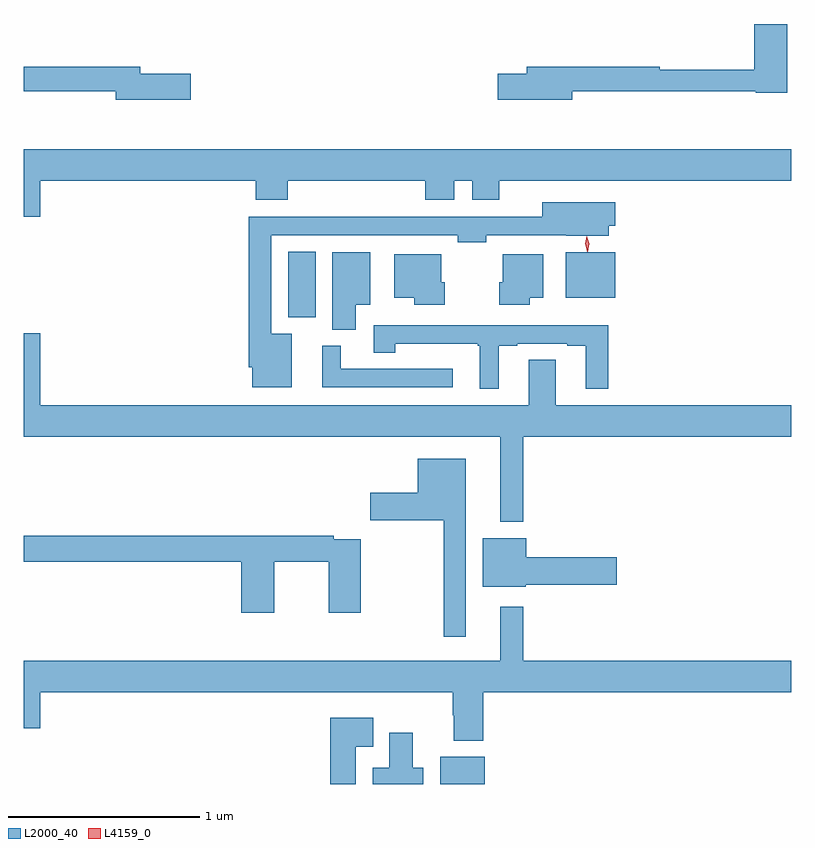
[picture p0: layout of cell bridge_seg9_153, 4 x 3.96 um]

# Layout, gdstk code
import gdstk
lib = gdstk.Library(unit=1e-6, precision=1e-09)
def R(c, l, rs):  # rectangles x0, y0, x1, y1
    for r in rs: c.add(gdstk.rectangle(r[:2], r[2:], *l))
def P(c, l, *ps):  # polygons
    for p in ps: c.add(gdstk.Polygon(p, *l))
L2000_40 = (2000, 40)
L4159_0 = (4159, 0)

bridge_seg9_153 = lib.new_cell('bridge_seg9_153')
R(bridge_seg9_153, L2000_40, [(550.871,1178.626,551.104,1178.767), (550.079,1181.057,550.222,1181.399), (551.525,1181.159,551.782,1181.395)])
P(bridge_seg9_153, L2000_40, [(551.56,1182.234),(552.516,1182.234),(552.516,1182.226),(552.678,1182.226),(552.678,1182.585),(552.507,1182.585),(552.507,1182.347),(552.016,1182.347),(552.016,1182.362),(551.321,1182.362),(551.321,1182.326),(551.172,1182.326),(551.172,1182.191),(551.56,1182.191)],
  [(549.571,1182.326),(549.31,1182.326),(549.31,1182.362),(548.701,1182.362),(548.701,1182.234),(549.182,1182.234),(549.182,1182.191),(549.571,1182.191)],
  [(548.788,1181.768),(549.911,1181.768),(549.911,1181.669),(550.076,1181.669),(550.076,1181.768),(550.793,1181.768),(550.793,1181.669),(550.945,1181.669),(550.945,1181.768),(551.039,1181.768),(551.039,1181.669),(551.179,1181.669),(551.179,1181.768),(552.701,1181.768),(552.701,1181.932),(548.701,1181.932),(548.701,1181.58),(548.788,1181.58)],
  [(550.099,1180.972),(549.99,1180.972),(549.99,1181.484),(550.962,1181.484),(550.962,1181.449),(551.112,1181.449),(551.112,1181.484),(551.529,1181.484),(551.529,1181.483),(551.749,1181.483),(551.749,1181.534),(551.782,1181.534),(551.782,1181.656),(551.402,1181.656),(551.402,1181.58),(550.709,1181.58),(550.709,1181.582),(550.159,1181.582),(550.159,1181.58),(549.874,1181.58),(549.874,1180.798),(549.893,1180.798),(549.893,1180.694),(550.099,1180.694)],
  [(550.432,1181.123),(550.507,1181.123),(550.507,1181.395),(550.31,1181.395),(550.31,1180.993),(550.432,1180.993)],
  [(550.894,1181.241),(550.876,1181.241),(550.876,1181.386),(550.631,1181.386),(550.631,1181.159),(550.736,1181.159),(550.736,1181.123),(550.894,1181.123)],
  [(551.338,1181.159),(551.407,1181.159),(551.407,1181.386),(551.198,1181.386),(551.198,1181.241),(551.18,1181.241),(551.18,1181.123),(551.338,1181.123)],
  [(551.176,1180.908),(551.272,1180.908),(551.272,1180.92),(551.534,1180.92),(551.534,1180.908),(551.63,1180.908),(551.63,1180.685),(551.747,1180.685),(551.747,1181.017),(551.434,1181.017),(551.434,1181.016),(550.524,1181.016),(550.524,1180.873),(550.637,1180.873),(550.637,1180.919),(551.067,1180.919),(551.067,1180.908),(551.078,1180.908),(551.078,1180.685),(551.176,1180.685)],
  [(551.305,1180.436),(552.701,1180.436),(552.701,1180.6),(551.473,1180.6),(551.473,1180.835),(551.333,1180.835),(551.333,1180.6),(548.788,1180.6),(548.788,1180.975),(548.701,1180.975),(548.701,1180.436),(551.183,1180.436),(551.183,1179.992),(551.305,1179.992)],
  [(550.936,1180.788),(550.354,1180.788),(550.354,1180.908),(550.256,1180.908),(550.256,1180.692),(550.936,1180.692)],
  [(551.005,1180.321),(550.754,1180.321),(550.754,1180.143),(550.506,1180.143),(550.506,1180.001),(550.891,1180.001),(550.891,1179.393),(551.005,1179.393)],
  [(550.006,1179.784),(550.292,1179.784),(550.292,1179.519),(550.458,1179.519),(550.458,1179.9),(550.316,1179.9),(550.316,1179.92),(548.701,1179.92),(548.701,1179.784),(549.836,1179.784),(549.836,1179.519),(550.006,1179.519)],
  [(551.316,1179.664),(551.791,1179.664),(551.791,1179.806),(551.32,1179.806),(551.32,1179.907),(551.093,1179.907),(551.093,1179.653),(551.316,1179.653)],
  [(551.183,1179.55),(551.183,1179.268),(548.701,1179.268),(548.701,1178.916),(548.788,1178.916),(548.788,1179.104),(550.936,1179.104),(550.936,1178.984),(550.943,1178.984),(550.943,1178.852),(551.096,1178.852),(551.096,1179.104),(552.701,1179.104),(552.701,1179.268),(551.305,1179.268),(551.305,1179.55)],
  [(550.432,1178.819),(550.522,1178.819),(550.522,1178.971),(550.298,1178.971),(550.298,1178.626),(550.432,1178.626)],
  [(550.783,1178.71),(550.729,1178.71),(550.729,1178.893),(550.607,1178.893),(550.607,1178.71),(550.52,1178.71),(550.52,1178.626),(550.783,1178.626)])
P(bridge_seg9_153, L4159_0, [(551.638,1181.399),(551.627,1181.439),(551.635,1181.479),(551.636,1181.479),(551.636,1181.479),(551.647,1181.439),(551.639,1181.399),(551.639,1181.399)])

lib.write_gds('bridge_seg9_153.gds')
